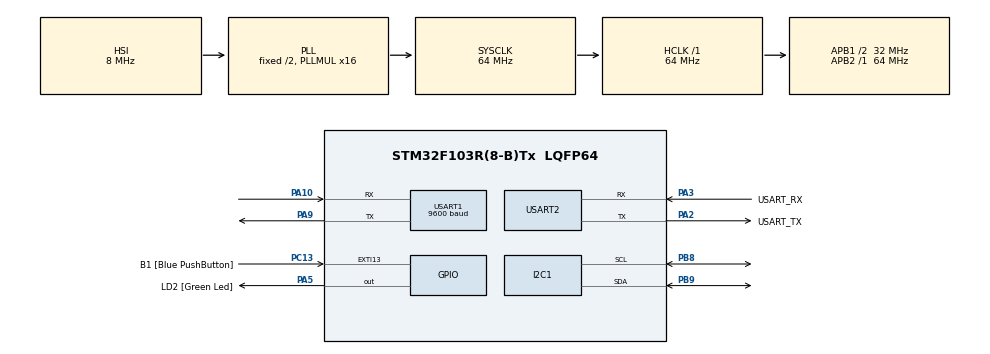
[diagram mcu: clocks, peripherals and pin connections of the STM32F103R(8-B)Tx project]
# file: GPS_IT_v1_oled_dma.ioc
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Dma.I2C1_TX.0.Direction=DMA_MEMORY_TO_PERIPH
Dma.I2C1_TX.0.Instance=DMA1_Channel6
Dma.I2C1_TX.0.MemDataAlignment=DMA_MDATAALIGN_BYTE
Dma.I2C1_TX.0.MemInc=DMA_MINC_ENABLE
Dma.I2C1_TX.0.Mode=DMA_NORMAL
Dma.I2C1_TX.0.PeriphDataAlignment=DMA_PDATAALIGN_BYTE
Dma.I2C1_TX.0.PeriphInc=DMA_PINC_DISABLE
Dma.I2C1_TX.0.Priority=DMA_PRIORITY_LOW
Dma.Request0=I2C1_TX
I2C1.I2C_Mode=I2C_Fast
Mcu.Family=STM32F1
Mcu.Name=STM32F103R(8-B)Tx
Mcu.Package=LQFP64
NVIC.DMA1_Channel6_IRQn=true\:0\:0\:false\:false\:true\:false\:true
NVIC.EXTI15_10_IRQn=true\:0\:0\:false\:false\:true\:true\:true
NVIC.I2C1_EV_IRQn=true\:0\:0\:false\:false\:true\:true\:true
NVIC.PriorityGroup=NVIC_PRIORITYGROUP_4
NVIC.USART1_IRQn=true\:0\:0\:false\:false\:true\:true\:true
PA10.Mode=Asynchronous
PA10.Signal=USART1_RX
PA13.GPIO_Label=TMS
PA13.Mode=Serial_Wire
PA13.Signal=SYS_JTMS-SWDIO
PA14.GPIO_Label=TCK
PA14.Mode=Serial_Wire
PA14.Signal=SYS_JTCK-SWCLK
PA2.GPIO_Label=USART_TX
PA2.GPIO_Mode=GPIO_MODE_AF_PP
PA2.GPIO_PuPd=GPIO_NOPULL
PA2.GPIO_Speed=GPIO_SPEED_FREQ_LOW
PA2.Mode=Asynchronous
PA2.Signal=USART2_TX
PA3.GPIO_Label=USART_RX
PA3.GPIO_Mode=GPIO_MODE_AF_PP
PA3.GPIO_PuPd=GPIO_NOPULL
PA3.GPIO_Speed=GPIO_SPEED_FREQ_LOW
PA3.Mode=Asynchronous
PA3.Signal=USART2_RX
PA5.GPIO_Label=LD2 [Green Led]
PA5.GPIO_ModeDefaultOutputPP=GPIO_MODE_OUTPUT_PP
PA5.GPIO_PuPd=GPIO_NOPULL
PA5.GPIO_Speed=GPIO_SPEED_FREQ_LOW
PA5.Signal=GPIO_Output
PA9.Mode=Asynchronous
PA9.Signal=USART1_TX
PB3.GPIO_Label=SWO
PB3.Signal=SYS_JTDO-TRACESWO
PB8.Mode=I2C
PB8.Signal=I2C1_SCL
PB9.Mode=I2C
PB9.Signal=I2C1_SDA
PC13-TAMPER-RTC.GPIO_Label=B1 [Blue PushButton]
PC13-TAMPER-RTC.GPIO_PuPd=GPIO_NOPULL
PC13-TAMPER-RTC.Signal=GPXTI13
PC14-OSC32_IN.Mode=LSE-External-Oscillator
PC14-OSC32_IN.Signal=RCC_OSC32_IN
PC15-OSC32_OUT.Mode=LSE-External-Oscillator
PC15-OSC32_OUT.Signal=RCC_OSC32_OUT
PD0-OSC_IN.Mode=HSE-External-Clock-Source
PD0-OSC_IN.Signal=RCC_OSC_IN
PD1-OSC_OUT.Mode=HSE-External-Clock-Source
PD1-OSC_OUT.Signal=RCC_OSC_OUT
ProjectManager.HeapSize=0x200
ProjectManager.StackSize=0x400
ProjectManager.TargetToolchain=MDK-ARM V5
RCC.AHBFreq_Value=64000000
RCC.APB1CLKDivider=RCC_HCLK_DIV2
RCC.APB1Freq_Value=32000000
RCC.APB1TimFreq_Value=64000000
RCC.APB2Freq_Value=64000000
RCC.APB2TimFreq_Value=64000000
RCC.HCLKFreq_Value=64000000
RCC.PLLMUL=RCC_PLL_MUL16
RCC.RTCClockSelection=RCC_RTCCLKSOURCE_LSE
RCC.SYSCLKFreq_VALUE=64000000
RCC.SYSCLKSource=RCC_SYSCLKSOURCE_PLLCLK
RCC.USBFreq_Value=64000000
TIM1.Period=0xffff-1
TIM1.Prescaler=6400-1
USART1.BaudRate=9600
USART1.VirtualMode=VM_ASYNC
USART2.VirtualMode=VM_ASYNC
VP_TIM1_VS_ClockSourceINT.Mode=Internal
board=NUCLEO-F103RB

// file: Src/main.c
/* USER CODE BEGIN Header */
/**
  ******************************************************************************
  * @file           : main.c
  * @brief          : Main program body
  ******************************************************************************
  * @attention
  *
  * <h2><center>&copy; Copyright (c) 2020 STMicroelectronics.
  * All rights reserved.</center></h2>
  *
  * This software component is licensed by ST under BSD 3-Clause license,
  * the "License"; You may not use this file except in compliance with the
  * License. You may obtain a copy of the License at:
  *                        opensource.org/licenses/BSD-3-Clause
  *
  ******************************************************************************
  */

	//https://stm32withoutfear.blogspot.com/2018/04/stm32-oled-display-ssd1306-i2c.html
/* USER CODE END Header */

#include "main.h"

/* USER CODE BEGIN Includes */

#include "ssd1306.h"

#include <string.h>
#include <stdio.h>
#include <stdlib.h>
#include <math.h>

/* USER CODE END Includes */

/* USER CODE BEGIN PD */

#define gps_serial &huart1
#define pc_serial &huart2
#define COMMA 0X2C //VIRGULA

/* USER CODE END PD */

I2C_HandleTypeDef hi2c1;
DMA_HandleTypeDef hdma_i2c1_tx;

TIM_HandleTypeDef htim1;

UART_HandleTypeDef huart1;
UART_HandleTypeDef huart2;

/* USER CODE BEGIN PV */

char GPS_BAUD_115200[] = "$PMTK251,115200*1F";

char ONLY_GPRMC[] = "$PMTK314,0,1,0,0,0,0,0,0,0,0,0,0,0,0,0,0,0,0,0*29";
char GPRMC_GPGSA[] = "$PMTK314,0,1,0,0,1,0,0,0,0,0,0,0,0,0,0,0,0,0,0*28";

char HOT_START[] = "$PMTK101*32";
char WARM_START[] = "$PMTK102*31";
char COLD_START[] = "$PMTK103*30";

char GPS_2s[]   = "$PMTK300,2000,0,0,0,0*1F";
char GPS_1Hz[]  = "$PMTK300,1000,0,0,0,0*1C";
char GPS_2Hz[]  = "$PMTK300,500,0,0,0,0*28";
char GPS_5Hz[]  = "$PMTK300,200,0,0,0,0*2F";
char GPS_10Hz[] = "$PMTK300,100,0,0,0,0*2C";

char CRLF[2] = {0x0D,0x0A};

char NMEA_type[6];
char NMEA_time[12];
char NMEA_fix[2];
char NMEA_latitude[10];
char NMEA_latitude_pole[2];
char NMEA_longitude[10];
char NMEA_longitude_side[2];
char NMEA_speed[8];
char NMEA_course[8];
char NMEA_date[8];
char NMEA_variation[8];
char NMEA_variation_side[2];

char rawHOUR[2];
char rawMINUTE[2];
char rawSECOND[6];

int HOUR;
int MINUTE;
float SECOND;
float START_TIME_0_100 = 0;
float END_TIME_0_100 = 0;
float TOTAL_TIME_0_100 = 0;
int DRAG = 0;

char OLD_NMEA_latitude[10];
char OLD_NMEA_longitude[10];
char OLD_NMEA_latitude_pole[2];
char OLD_NMEA_longitude_side[2];

int NMEA_type_length;
int NMEA_time_length;
int NMEA_fix_length;
int NMEA_latitude_length;
int NMEA_latitude_pole_length;
int NMEA_longitude_length;
int NMEA_longitude_side_length;
int NMEA_speed_length;
int NMEA_course_length;
int NMEA_date_length;
int NMEA_variation_length;
int NMEA_variation_side_length;

char myNMEA[80];//

char Rx_data[80];
char Tx_data[80];

char strbff[30];

unsigned int i = 0;

int TIMER_MS;
int k = 0;
int j = 0;
int result;
int NMEA_length = 0;
int COMMA_COUNT = 0;
int NMEA_length_pause = 0;

int READY_MESSAGE = 0;

float DISTANCE_METERS = 0.0;
float DISTANCE_KM = 0.0;

__IO uint32_t received_char;
/* USER CODE END PV */

void SystemClock_Config(void);
static void MX_GPIO_Init(void);
static void MX_DMA_Init(void);
static void MX_USART1_UART_Init(void);
static void MX_USART2_UART_Init(void);
static void MX_I2C1_Init(void);
static void MX_TIM1_Init(void);
/* USER CODE BEGIN PFP */

void Configure_USART(void);
void LED_On(void);
void LED_Off(void);
void LED_Blinking(uint32_t Period);
float distance_between (float lat1, float long1, float lat2, float long2);
float radians(float val);
float GpsToDecimalDegrees(const char* nmeaPos, char quadrant);

/* USER CODE END PFP */

/* USER CODE BEGIN 0 */

char *position_ptr;

/* USER CODE END 0 */

int main(void)
{

  /* MCU Configuration--------------------------------------------------------*/

  /* Reset of all peripherals, Initializes the Flash interface and the Systick. */
  HAL_Init();

  /* Configure the system clock */
  SystemClock_Config();

  /* Initialize all configured peripherals */
  MX_GPIO_Init();
  MX_DMA_Init();
  MX_USART1_UART_Init();
  MX_USART2_UART_Init();
  MX_I2C1_Init();
  MX_TIM1_Init();
  /* USER CODE BEGIN 2 */

	ssd1306_Init();
  ssd1306_FlipScreenVertically();
  ssd1306_Clear();
  ssd1306_SetColor(White);
	ssd1306_SetCursor (2,0);
	ssd1306_WriteString( "GPS" , Font_16x26);
	ssd1306_UpdateScreen();

//	HAL_UART_Transmit(gps_serial, (uint8_t *)ONLY_GPRMC, strlen(ONLY_GPRMC),300);
//	HAL_UART_Transmit(gps_serial, (uint8_t *)CRLF, 2,10);
//	HAL_Delay(200);

	HAL_UART_Transmit(gps_serial, (uint8_t *)GPS_BAUD_115200, strlen(GPS_BAUD_115200),300);
	HAL_UART_Transmit(gps_serial, (uint8_t *)CRLF, 2,10);
	HAL_Delay(200);
	/* Configure USARTx (USART IP configuration and related GPIO initialization) */
  Configure_USART();
	HAL_Delay(200);

	HAL_UART_Transmit(gps_serial, (uint8_t *)GPRMC_GPGSA, strlen(GPRMC_GPGSA),300);
	HAL_UART_Transmit(gps_serial, (uint8_t *)CRLF, 2,10);
	HAL_Delay(200);

	HAL_UART_Transmit(gps_serial, (uint8_t *)GPS_10Hz, strlen(GPS_10Hz),300);
	HAL_UART_Transmit(gps_serial, (uint8_t *)CRLF, 2,10);
	HAL_Delay(200);

//	HAL_UART_Transmit(gps_serial, (uint8_t *)HOT_START, strlen(HOT_START),300);
//	HAL_UART_Transmit(gps_serial, (uint8_t *)CRLF, 2,10);
//	HAL_Delay(200);

	ssd1306_Clear();

	/* Enable RXNE and Error interrupts */
  LL_USART_EnableIT_RXNE(USARTx_INSTANCE);
  LL_USART_EnableIT_ERROR(USARTx_INSTANCE);

  /* USER CODE END 2 */

  /* Infinite loop */
  /* USER CODE BEGIN WHILE */
  while (1)
  {
		if(READY_MESSAGE == 1)
		{
			//HAL_GPIO_WritePin(LD2_GPIO_Port, LD2_Pin, GPIO_PIN_SET);

			memcpy(myNMEA, Rx_data, 80);
			memset(Rx_data,0x00,80);

			if((myNMEA[1]=='G') && (myNMEA[2]=='P') && (myNMEA[3]=='R') && (myNMEA[4]=='M') && (myNMEA[5]=='C'))
			{
				HAL_TIM_Base_Stop(&htim1);
				TIMER_MS =__HAL_TIM_GetCounter(&htim1);
				__HAL_TIM_SetCounter(&htim1, 0);
				HAL_TIM_Base_Start(&htim1);
				result = 1;
				HAL_GPIO_WritePin(LD2_GPIO_Port, LD2_Pin, GPIO_PIN_SET);
			}

			else
			{
				result = 0;
				memset(myNMEA,0x00,80);
			}

			//Example $GPRMC,151802.962,A,2338.944,S,04639.370,W,208.0,219.1,240320,000.0,W*7E
			//vector  0123456789
			if(result)
			{
				memcpy(OLD_NMEA_latitude, NMEA_latitude, sizeof(NMEA_latitude));
				memcpy(OLD_NMEA_longitude, NMEA_longitude, sizeof(NMEA_longitude));
				memcpy(OLD_NMEA_latitude_pole, NMEA_latitude_pole, sizeof(NMEA_latitude_pole));
				memcpy(OLD_NMEA_longitude_side, NMEA_longitude_side, sizeof(NMEA_longitude_side));

				//HAL_GPIO_WritePin(LD2_GPIO_Port, LD2_Pin, GPIO_PIN_SET);
				NMEA_length_pause = 7;
				j = 7;
				while(myNMEA[j] != COMMA)
				{
					NMEA_time[j-NMEA_length_pause] = myNMEA[j];
					j++;
				}
				NMEA_time_length = j - NMEA_length_pause  - 1;
				NMEA_length_pause = j;

				j++;

				while(myNMEA[j] != COMMA)
				{
					NMEA_fix[j-NMEA_length_pause-1] = myNMEA[j];
					j++;
				}
				NMEA_fix_length = j - NMEA_length_pause - 1;
				NMEA_length_pause = j;

				j++;

				while(myNMEA[j] != COMMA)
				{
					NMEA_latitude[j-NMEA_length_pause-1] = myNMEA[j];
					j++;
				}
				NMEA_latitude_length = j - NMEA_length_pause - 1;
				NMEA_length_pause = j;

				j++;

				while(myNMEA[j] != COMMA)
				{
					NMEA_latitude_pole[j-NMEA_length_pause-1] = myNMEA[j];
					j++;
				}
				NMEA_latitude_pole_length = j - NMEA_length_pause - 1;
				NMEA_length_pause = j;

				j++;

				while(myNMEA[j] != COMMA)
				{
					NMEA_longitude[j-NMEA_length_pause-1] = myNMEA[j];
					j++;
				}
				NMEA_longitude_length = j - NMEA_length_pause - 1;
				NMEA_length_pause = j;

				j++;

				while(myNMEA[j] != COMMA)
				{
					NMEA_longitude_side[j-NMEA_length_pause-1] = myNMEA[j];
					j++;
				}
				NMEA_longitude_side_length = j - NMEA_length_pause - 1;
				NMEA_length_pause = j;

				j++;

				while(myNMEA[j] != COMMA)
				{
					NMEA_speed[j-NMEA_length_pause-1] = myNMEA[j];
					j++;
				}
				NMEA_speed_length = j - NMEA_length_pause - 1;
				NMEA_length_pause = j;

				j++;

				while(myNMEA[j] != COMMA)
				{
					NMEA_course[j-NMEA_length_pause-1] = myNMEA[j];
					j++;
				}
				NMEA_course_length = j - NMEA_length_pause - 1;
				NMEA_length_pause = j;

				j++;

				while(myNMEA[j] != COMMA)
				{
					NMEA_date[j-NMEA_length_pause-1] = myNMEA[j];
					j++;
				}
				NMEA_date_length = j - NMEA_length_pause - 1;
				NMEA_length_pause = j;

				j++;

				while(myNMEA[j] != COMMA)
				{
					NMEA_variation[j-NMEA_length_pause-1] = myNMEA[j];
					j++;
				}
				NMEA_variation_length = j - NMEA_length_pause - 1;
				NMEA_length_pause = j;

				j++;

				while(myNMEA[j] != '*')
				{
					NMEA_variation_side[j-NMEA_length_pause-1] = myNMEA[j];
					j++;
				}
				NMEA_variation_side_length = j - NMEA_length_pause - 1;
			}

			j=0;
			k=0;
			result = 0;
			NMEA_length_pause = 0;
			//memset(myNMEA,0x00,80);

			int SPEED = (atoi(NMEA_speed)) * 1.852;
			sprintf(strbff, "%03iKm/h ", SPEED);
			ssd1306_SetCursor (2,0);
			ssd1306_WriteString (strbff, Font_16x26);

			rawHOUR[0] = NMEA_time[0];
			rawHOUR[1] = NMEA_time[1];
			HOUR = atoi(rawHOUR);
			HOUR = HOUR - 3;
			if(HOUR < 0)
				HOUR += 24;
			sprintf(strbff, "%02i", HOUR);

			ssd1306_SetCursor (2,25);
			ssd1306_WriteString (strbff, Font_7x10);

			//ssd1306_SetCursor (2,30);
			//ssd1306_WriteChar (NMEA_time[0], Font_7x10);ssd1306_WriteChar (NMEA_time[1], Font_7x10);
			ssd1306_WriteChar (0x3A, Font_7x10);
			ssd1306_WriteChar (NMEA_time[2], Font_7x10);ssd1306_WriteChar (NMEA_time[3], Font_7x10); //MINUTES
			ssd1306_WriteChar (0x3A, Font_7x10);
			ssd1306_WriteChar (NMEA_time[4], Font_7x10);ssd1306_WriteChar (NMEA_time[5], Font_7x10); //SECONDS
			ssd1306_WriteChar (NMEA_time[6], Font_7x10);ssd1306_WriteChar (NMEA_time[7], Font_7x10); //MILISSECOND

			if((NMEA_fix[0] == 'A') && (SPEED > 0))
			{
				float lat1  = GpsToDecimalDegrees(OLD_NMEA_latitude,  OLD_NMEA_latitude_pole[0]);
				float long1 = GpsToDecimalDegrees(OLD_NMEA_longitude, OLD_NMEA_longitude_side[0]);
				float lat2  = GpsToDecimalDegrees(NMEA_latitude,  NMEA_latitude_pole[0]);
				float long2 = GpsToDecimalDegrees(NMEA_longitude, NMEA_longitude_side[0]);

				float delta = distance_between(lat1, long1, lat2, long2);
				DISTANCE_METERS = DISTANCE_METERS + delta;
				DISTANCE_KM = DISTANCE_METERS / 1000.0;
			}
			if(HAL_GPIO_ReadPin(B1_GPIO_Port, B1_Pin) == 0)
			{
				DISTANCE_METERS = 0;
				DISTANCE_KM = 0;
			}

			if((SPEED == 0) && (DRAG == 0))
			{
				rawSECOND[0] = NMEA_time[4]; //second
				rawSECOND[1] = NMEA_time[5]; //second
				rawSECOND[2] = NMEA_time[6]; //dot
				rawSECOND[3] = NMEA_time[7]; //milissecond
				START_TIME_0_100 = atof(rawSECOND);
				DRAG = 1;
			}

			if((SPEED >= 100) && (DRAG == 1))
			{
				rawSECOND[0] = NMEA_time[4]; //second
				rawSECOND[1] = NMEA_time[5]; //second
				rawSECOND[2] = NMEA_time[6]; //dot
				rawSECOND[3] = NMEA_time[7]; //milissecond
				END_TIME_0_100 = atof(rawSECOND);
				DRAG = 0;
				TOTAL_TIME_0_100 = END_TIME_0_100 - START_TIME_0_100;

			}
			sprintf(strbff, "0-100: %04.1f", TOTAL_TIME_0_100);
			ssd1306_SetCursor (2,38);
			ssd1306_WriteString(strbff, Font_7x10);

			memset(strbff,0x00,30);
			sprintf(strbff, "D %07.2fKm   ", DISTANCE_KM);
			ssd1306_SetCursor (30,53);
			ssd1306_WriteString(strbff, Font_7x10);

			ssd1306_SetCursor (2,53);
			ssd1306_WriteChar(NMEA_fix[0], Font_7x10);
			ssd1306_UpdateScreen ();

			READY_MESSAGE = 0;
			HAL_GPIO_WritePin(LD2_GPIO_Port, LD2_Pin, GPIO_PIN_RESET);
		}

    /* USER CODE END WHILE */

  }
}

void SystemClock_Config(void)
{
  RCC_OscInitTypeDef RCC_OscInitStruct = {0};
  RCC_ClkInitTypeDef RCC_ClkInitStruct = {0};

  /** Initializes the CPU, AHB and APB busses clocks
  */
  RCC_OscInitStruct.OscillatorType = RCC_OSCILLATORTYPE_HSI;
  RCC_OscInitStruct.HSIState = RCC_HSI_ON;
  RCC_OscInitStruct.HSICalibrationValue = RCC_HSICALIBRATION_DEFAULT;
  RCC_OscInitStruct.PLL.PLLState = RCC_PLL_ON;
  RCC_OscInitStruct.PLL.PLLSource = RCC_PLLSOURCE_HSI_DIV2;
  RCC_OscInitStruct.PLL.PLLMUL = RCC_PLL_MUL16;
  if (HAL_RCC_OscConfig(&RCC_OscInitStruct) != HAL_OK)
  {
    Error_Handler();
  }
  /** Initializes the CPU, AHB and APB busses clocks
  */
  RCC_ClkInitStruct.ClockType = RCC_CLOCKTYPE_HCLK|RCC_CLOCKTYPE_SYSCLK
                              |RCC_CLOCKTYPE_PCLK1|RCC_CLOCKTYPE_PCLK2;
  RCC_ClkInitStruct.SYSCLKSource = RCC_SYSCLKSOURCE_PLLCLK;
  RCC_ClkInitStruct.AHBCLKDivider = RCC_SYSCLK_DIV1;
  RCC_ClkInitStruct.APB1CLKDivider = RCC_HCLK_DIV2;
  RCC_ClkInitStruct.APB2CLKDivider = RCC_HCLK_DIV1;

  if (HAL_RCC_ClockConfig(&RCC_ClkInitStruct, FLASH_LATENCY_2) != HAL_OK)
  {
    Error_Handler();
  }
}

static void MX_I2C1_Init(void)
{

  hi2c1.Instance = I2C1;
  hi2c1.Init.ClockSpeed = 400000;
  hi2c1.Init.DutyCycle = I2C_DUTYCYCLE_2;
  hi2c1.Init.OwnAddress1 = 0;
  hi2c1.Init.AddressingMode = I2C_ADDRESSINGMODE_7BIT;
  hi2c1.Init.DualAddressMode = I2C_DUALADDRESS_DISABLE;
  hi2c1.Init.OwnAddress2 = 0;
  hi2c1.Init.GeneralCallMode = I2C_GENERALCALL_DISABLE;
  hi2c1.Init.NoStretchMode = I2C_NOSTRETCH_DISABLE;
  if (HAL_I2C_Init(&hi2c1) != HAL_OK)
  {
    Error_Handler();
  }

}

static void MX_TIM1_Init(void)
{

  TIM_ClockConfigTypeDef sClockSourceConfig = {0};
  TIM_MasterConfigTypeDef sMasterConfig = {0};

  htim1.Instance = TIM1;
  htim1.Init.Prescaler = 6400-1;
  htim1.Init.CounterMode = TIM_COUNTERMODE_UP;
  htim1.Init.Period = 0xffff-1;
  htim1.Init.ClockDivision = TIM_CLOCKDIVISION_DIV1;
  htim1.Init.RepetitionCounter = 0;
  htim1.Init.AutoReloadPreload = TIM_AUTORELOAD_PRELOAD_DISABLE;
  if (HAL_TIM_Base_Init(&htim1) != HAL_OK)
  {
    Error_Handler();
  }
  sClockSourceConfig.ClockSource = TIM_CLOCKSOURCE_INTERNAL;
  if (HAL_TIM_ConfigClockSource(&htim1, &sClockSourceConfig) != HAL_OK)
  {
    Error_Handler();
  }
  sMasterConfig.MasterOutputTrigger = TIM_TRGO_RESET;
  sMasterConfig.MasterSlaveMode = TIM_MASTERSLAVEMODE_DISABLE;
  if (HAL_TIMEx_MasterConfigSynchronization(&htim1, &sMasterConfig) != HAL_OK)
  {
    Error_Handler();
  }

}

static void MX_USART1_UART_Init(void)
{

  huart1.Instance = USART1;
  huart1.Init.BaudRate = 9600;
  huart1.Init.WordLength = UART_WORDLENGTH_8B;
  huart1.Init.StopBits = UART_STOPBITS_1;
  huart1.Init.Parity = UART_PARITY_NONE;
  huart1.Init.Mode = UART_MODE_TX_RX;
  huart1.Init.HwFlowCtl = UART_HWCONTROL_NONE;
  huart1.Init.OverSampling = UART_OVERSAMPLING_16;
  if (HAL_UART_Init(&huart1) != HAL_OK)
  {
    Error_Handler();
  }

}

static void MX_USART2_UART_Init(void)
{

  huart2.Instance = USART2;
  huart2.Init.BaudRate = 115200;
  huart2.Init.WordLength = UART_WORDLENGTH_8B;
  huart2.Init.StopBits = UART_STOPBITS_1;
  huart2.Init.Parity = UART_PARITY_NONE;
  huart2.Init.Mode = UART_MODE_TX_RX;
  huart2.Init.HwFlowCtl = UART_HWCONTROL_NONE;
  huart2.Init.OverSampling = UART_OVERSAMPLING_16;
  if (HAL_UART_Init(&huart2) != HAL_OK)
  {
    Error_Handler();
  }

}

static void MX_DMA_Init(void)
{

  /* DMA controller clock enable */
  __HAL_RCC_DMA1_CLK_ENABLE();

  /* DMA interrupt init */
  /* DMA1_Channel6_IRQn interrupt configuration */
  HAL_NVIC_SetPriority(DMA1_Channel6_IRQn, 0, 0);
  HAL_NVIC_EnableIRQ(DMA1_Channel6_IRQn);

}

static void MX_GPIO_Init(void)
{
  GPIO_InitTypeDef GPIO_InitStruct = {0};

  /* GPIO Ports Clock Enable */
  __HAL_RCC_GPIOC_CLK_ENABLE();
  __HAL_RCC_GPIOD_CLK_ENABLE();
  __HAL_RCC_GPIOA_CLK_ENABLE();
  __HAL_RCC_GPIOB_CLK_ENABLE();

  /*Configure GPIO pin Output Level */
  HAL_GPIO_WritePin(LD2_GPIO_Port, LD2_Pin, GPIO_PIN_RESET);

  /*Configure GPIO pin : B1_Pin */
  GPIO_InitStruct.Pin = B1_Pin;
  GPIO_InitStruct.Mode = GPIO_MODE_IT_RISING;
  GPIO_InitStruct.Pull = GPIO_NOPULL;
  HAL_GPIO_Init(B1_GPIO_Port, &GPIO_InitStruct);

  /*Configure GPIO pin : LD2_Pin */
  GPIO_InitStruct.Pin = LD2_Pin;
  GPIO_InitStruct.Mode = GPIO_MODE_OUTPUT_PP;
  GPIO_InitStruct.Pull = GPIO_NOPULL;
  GPIO_InitStruct.Speed = GPIO_SPEED_FREQ_LOW;
  HAL_GPIO_Init(LD2_GPIO_Port, &GPIO_InitStruct);

  /* EXTI interrupt init*/
  HAL_NVIC_SetPriority(EXTI15_10_IRQn, 0, 0);
  HAL_NVIC_EnableIRQ(EXTI15_10_IRQn);

}

/* USER CODE BEGIN 4 */

float GpsToDecimalDegrees(const char* nmeaPos, char quadrant)
{
  float v= 0;
  if(strlen(nmeaPos)>5)
  {
    char integerPart[3+1];
    int digitCount= (nmeaPos[4]=='.' ? 2 : 3);
    memcpy(integerPart, nmeaPos, digitCount);
    integerPart[digitCount]= 0;
    nmeaPos+= digitCount;
    v= atoi(integerPart) + atof(nmeaPos)/60.;
    if(quadrant=='W' || quadrant=='S')
      v= -v;
  }
  return v;
}

float radians(float val)
{
    float radians_val = (val * 71) / 4068;
    return radians_val;
    //float rad = val * 1000.0 / 57296.0;
    //return rad;
}

float distance_between (float lat1, float long1, float lat2, float long2)
{
  // returns distance in meters between two positions, both specified
  // as signed decimal-degrees latitude and longitude. Uses great-circle
  // distance computation for hypothetical sphere of radius 6372795 meters.
  // Because Earth is no exact sphere, rounding errors may be up to 0.5%.
  // Courtesy of Maarten Lamers
  float delta = radians(long1-long2);
  float sdlong = sin(delta);
  float cdlong = cos(delta);
  lat1 = radians(lat1);
  lat2 = radians(lat2);
  float slat1 = sin(lat1);
  float clat1 = cos(lat1);
  float slat2 = sin(lat2);
  float clat2 = cos(lat2);
  delta = (clat1 * slat2) - (slat1 * clat2 * cdlong);
  delta = delta * delta;
  delta += ((clat2 * sdlong)*(clat2 * sdlong));
  delta = sqrt(delta);
  float denom = ((slat1 * slat2) + (clat1 * clat2 * cdlong));
  delta = atan2(delta, denom);
  delta =  delta * 6372795;

  return delta;
}

void USART_CharReception_Callback(void)
{

  /* Read Received character. RXNE flag is cleared by reading of DR register */
  Rx_data[i] = LL_USART_ReceiveData8(USART1);

	/* Echo received character on TX */
  LL_USART_TransmitData8(USART2, Rx_data[i]);

	if(Rx_data[i] == 0x0A)
	{
		i = 0;
		READY_MESSAGE = 1;
		//HAL_GPIO_WritePin(LD2_GPIO_Port, LD2_Pin, GPIO_PIN_RESET);
	}
	else
	{
		i++;
		//HAL_GPIO_WritePin(LD2_GPIO_Port, LD2_Pin, GPIO_PIN_SET);
	}

}

void Error_Callback(void)
{
  __IO uint32_t sr_reg;

  /* Disable USARTx_IRQn */
  NVIC_DisableIRQ(USARTx_IRQn);

  /* Error handling example :
    - Read USART SR register to identify flag that leads to IT raising
    - Perform corresponding error handling treatment according to flag
  */
  sr_reg = LL_USART_ReadReg(USARTx_INSTANCE, SR);
  if (sr_reg & LL_USART_SR_NE)
  {
    /* case Noise Error flag is raised : ... */
    //LED_Blinking(LED_BLINK_FAST);
  }
  else
  {
    /* Unexpected IT source : Set LED to Blinking mode to indicate error occurs */
    //LED_Blinking(LED_BLINK_ERROR);
  }
}

void LED_Blinking(uint32_t Period)
{
  /* Toggle LED2 in an infinite loop */
  while (1)
  {
    LL_GPIO_TogglePin(LD2_GPIO_Port, LD2_Pin);
    LL_mDelay(Period);
  }
}

void LED_On(void)
{
  /* Turn LED2 on */
  LL_GPIO_SetOutputPin(LD2_GPIO_Port, LD2_Pin);
}

/**
  * @brief  Turn-off LED2.
  * @param  None
  * @retval None
  */
void LED_Off(void)
{
  /* Turn LED2 off */
  LL_GPIO_ResetOutputPin(LD2_GPIO_Port, LD2_Pin);
}

void Configure_USART(void)
{

  /* (1) Enable GPIO clock and configures the USART pins *********************/

  /* Enable the peripheral clock of GPIO Port */
  USARTx_GPIO_CLK_ENABLE();

  /* Enable USART peripheral clock *******************************************/
  USARTx_CLK_ENABLE();

  /* Configure Tx Pin as : Alternate function, High Speed, Push pull, Pull up */
  LL_GPIO_SetPinMode(USARTx_TX_GPIO_PORT, USARTx_TX_PIN, LL_GPIO_MODE_ALTERNATE);
  LL_GPIO_SetPinSpeed(USARTx_TX_GPIO_PORT, USARTx_TX_PIN, LL_GPIO_SPEED_FREQ_HIGH);
  LL_GPIO_SetPinOutputType(USARTx_TX_GPIO_PORT, USARTx_TX_PIN, LL_GPIO_OUTPUT_PUSHPULL);
  LL_GPIO_SetPinPull(USARTx_TX_GPIO_PORT, USARTx_TX_PIN, LL_GPIO_PULL_UP);

  /* Configure Rx Pin as : Input Floating function, High Speed, Pull up */
  LL_GPIO_SetPinMode(USARTx_RX_GPIO_PORT, USARTx_RX_PIN, LL_GPIO_MODE_FLOATING);
  LL_GPIO_SetPinSpeed(USARTx_RX_GPIO_PORT, USARTx_RX_PIN, LL_GPIO_SPEED_FREQ_HIGH);
  LL_GPIO_SetPinPull(USARTx_RX_GPIO_PORT, USARTx_RX_PIN, LL_GPIO_PULL_UP);

  /* (2) NVIC Configuration for USART interrupts */
  /*  - Set priority for USARTx_IRQn */
  /*  - Enable USARTx_IRQn */
  NVIC_SetPriority(USARTx_IRQn, 0);
  NVIC_EnableIRQ(USARTx_IRQn);

  /* (3) Configure USART functional parameters ********************************/

  /* Disable USART prior modifying configuration registers */
  /* Note: Commented as corresponding to Reset value */
  // LL_USART_Disable(USARTx_INSTANCE);

  /* TX/RX direction */
  LL_USART_SetTransferDirection(USARTx_INSTANCE, LL_USART_DIRECTION_TX_RX);

  /* 8 data bit, 1 start bit, 1 stop bit, no parity */
  LL_USART_ConfigCharacter(USARTx_INSTANCE, LL_USART_DATAWIDTH_8B, LL_USART_PARITY_NONE, LL_USART_STOPBITS_1);

  /* No Hardware Flow control */
  /* Reset value is LL_USART_HWCONTROL_NONE */
  // LL_USART_SetHWFlowCtrl(USARTx_INSTANCE, LL_USART_HWCONTROL_NONE);

  /* Set Baudrate to 115200 using APB frequency set to 72000000/APB_Div Hz */
  /* Frequency available for USART peripheral can also be calculated through LL RCC macro */
  /* Ex :
      Periphclk = LL_RCC_GetUSARTClockFreq(Instance); or LL_RCC_GetUARTClockFreq(Instance); depending on USART/UART instance

      In this example, Peripheral Clock is expected to be equal to 72000000/APB_Div Hz => equal to SystemCoreClock/APB_Div
  */
  LL_USART_SetBaudRate(USARTx_INSTANCE, SystemCoreClock/APB_Div, 115200);

  /* (4) Enable USART *********************************************************/
  LL_USART_Enable(USARTx_INSTANCE);

  /* Enable RXNE and Error interrupts */
  //LL_USART_EnableIT_RXNE(USARTx_INSTANCE);
  //LL_USART_EnableIT_ERROR(USARTx_INSTANCE);
}

/* USER CODE END 4 */

void Error_Handler(void)
{
}

/************************ (C) COPYRIGHT STMicroelectronics *****END OF FILE****/
